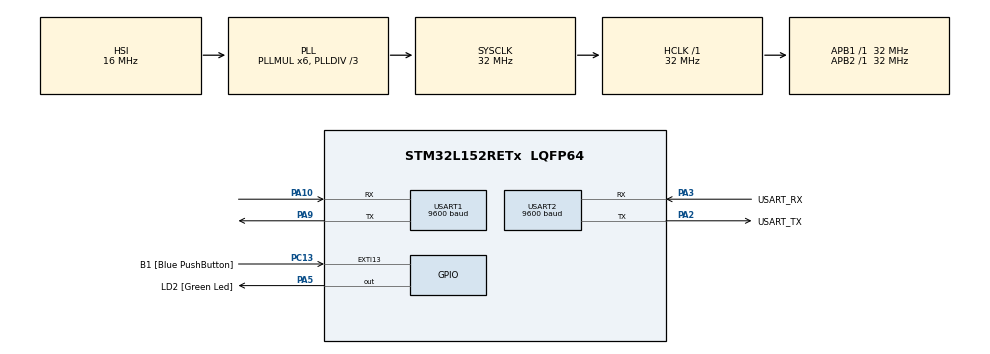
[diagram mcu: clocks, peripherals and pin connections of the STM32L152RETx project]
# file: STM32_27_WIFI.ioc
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Mcu.Family=STM32L1
RCC.MSI_VALUE=2097000
PC15-OSC32_OUT.Mode=LSE-External-Oscillator
PH0-OSC_IN.Signal=RCC_OSC_IN
PA10.Mode=Asynchronous
USART1.BaudRate=9600
PA14.GPIO_Label=TCK
PC14-OSC32_IN.Signal=RCC_OSC32_IN
NVIC.USART2_IRQn=true\:0\:0\:false\:false\:true\:true\:true
USART2.BaudRate=9600
RCC.SYSCLKSource=RCC_SYSCLKSOURCE_PLLCLK
ProjectManager.StackSize=0x400
PA13.Signal=SYS_JTMS-SWDIO
PA3.Mode=Asynchronous
PA9.Mode=Asynchronous
RCC.PLLDIV=RCC_PLL_DIV3
ProjectManager.TargetToolchain=STM32CubeIDE
RCC.HCLKFreq_Value=32000000
PC13-WKUP2.GPIO_Label=B1 [Blue PushButton]
RCC.APB2TimFreq_Value=32000000
PA9.Signal=USART1_TX
PC15-OSC32_OUT.Signal=RCC_OSC32_OUT
RCC.AHBFreq_Value=32000000
PH0-OSC_IN.Mode=HSE-External-Clock-Source
PA5.Signal=GPIO_Output
RCC.HSE_VALUE=8000000
PC13-WKUP2.Signal=GPXTI13
board=NUCLEO-L152RE
RCC.VCOOutputFreq_Value=96000000
RCC.PLLMUL=RCC_PLL_MUL6
RCC.APB2Freq_Value=32000000
PC14-OSC32_IN.Mode=LSE-External-Oscillator
RCC.RTCClockSelectionVirtual=RCC_RTCCLKSOURCE_LSE
PA14.Mode=Serial_Wire
PH1-OSC_OUT.Signal=RCC_OSC_OUT
PA13.Mode=Serial_Wire
Mcu.Name=STM32L152RETx
PA2.Signal=USART2_TX
PA13.GPIO_Label=TMS
RCC.48MHZClocksFreq_Value=48000000
PB3.Signal=SYS_JTDO-TRACESWO
RCC.SYSCLKFreq_VALUE=32000000
Mcu.Package=LQFP64
PA5.GPIO_Label=LD2 [Green Led]
USART2.VirtualMode=VM_ASYNC
RCC.USBOutput=48000000
USART1.VirtualMode=VM_ASYNC
PA2.GPIO_Label=USART_TX
PA10.Signal=USART1_RX
PA14.Signal=SYS_JTCK-SWCLK
ProjectManager.HeapSize=0x200
USART2.WordLength=WORDLENGTH_8B
RCC.HSI_VALUE=16000000
NVIC.PriorityGroup=NVIC_PRIORITYGROUP_0
RCC.APB1TimFreq_Value=32000000
PA2.Mode=Asynchronous
NVIC.USART1_IRQn=true\:0\:0\:false\:false\:true\:true\:true
RCC.APB1Freq_Value=32000000
PA3.GPIO_Label=USART_RX
PA3.Signal=USART2_RX
PB3.GPIO_Label=SWO

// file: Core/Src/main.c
/* USER CODE BEGIN Header */
/**
  ******************************************************************************
  * @file           : main.c
  * @brief          : Main program body
  ******************************************************************************
  * @attention
  *
  * <h2><center>&copy; Copyright (c) 2021 STMicroelectronics.
  * All rights reserved.</center></h2>
  *
  * This software component is licensed by ST under BSD 3-Clause license,
  * the "License"; You may not use this file except in compliance with the
  * License. You may obtain a copy of the License at:
  *                        opensource.org/licenses/BSD-3-Clause
  *
  ******************************************************************************
  */
/* USER CODE END Header */
#include "main.h"
#include "usart.h"
#include "gpio.h"

/* USER CODE BEGIN Includes */
#include <string.h>
#include <stdio.h>
#include "wifly_lib.h"

/*	WIFLY_AUTH_OPEN        0    // Open (default)
	WIFLY_AUTH_WEP         1    // WEP-128
	WIFLY_AUTH_WPA1        2    // WPA1
	WIFLY_AUTH_WPA1_2      3    // Mixed-mode WPA1 and WPA2-PSK
	WIFLY_AUTH_WPA2_PSK    4    // WPA2-PSK
	WIFLY_AUTH_ADHOC       6    // Ad-hoc, join any Ad-hoc network
*/
#define SSID	"Galaxy-S8"
#define KEY		"123456789"
#define AUTH	WIFLY_AUTH_WPA2_PSK

#define URL		"httpbin.org"//"api.openweathermap.org" //"e40810fd255dcc.localhost.run"

#define HOST_IP "192.168.43.48"
#define HOST_PORT "4010"
#define STD_PORT "80"
/* USER CODE END Includes */

void SystemClock_Config(void);

int main(void)
{

  /* MCU Configuration--------------------------------------------------------*/

  /* Reset of all peripherals, Initializes the Flash interface and the Systick. */
  HAL_Init();

  /* Configure the system clock */
  SystemClock_Config();

  /* Initialize all configured peripherals */
  MX_GPIO_Init();
  MX_USART1_UART_Init();
  MX_USART2_UART_Init();
  /* USER CODE BEGIN 2 */

  int ok[MAX_RCP_LEN ] = {0};
  char GET_DATA_Send[100] = "GET /ShowData?id=10";
  //char path = "/ShowData?";
  int  id = 10, temp = 2000, humA = 4560, humS = 6700 , Waterlvl = 5000;
  int reboot = 0, i =0;

  /* USER CODE END 2 */

  /* Infinite loop */
  /* USER CODE BEGIN WHILE */

  commandMode();

  /* -----  WIFI_authentification(SSID,AUTH,KEY);  ----- */

	sendCommand("set wlan ssid " SSID "\r", "OK",ok);
	  if (strcmp(AUTH , WIFLY_AUTH_OPEN) > 0 || strcmp(AUTH , WIFLY_AUTH_OPEN) < 0 )
	    {
		  sendCommand("set wlan auth " AUTH "\r","OK", ok);
	  	  if (strcmp(AUTH , WIFLY_AUTH_WEP)==0)
	  	  {
	  		sendCommand("set wlan key " KEY "\r","OK", ok); // Key must be EXACTLY 13 bytes (26 ASCII chars)
	  	  }
	  	  else{
	  		sendCommand("set wlan phrase " KEY"\r","OK", ok);

	  	  }
	    }

   /* -----  Connect to server ----- */

  sendCommand("set ip protocol 18\r","OK",ok); //enable html client
  sendCommand("set com remote 0\r","OK",ok); // turn off the REMOTE string so it does not interfere with the post

  sendCommand("set ip host " HOST_IP"\r","OK",ok); //set remote IP to connect to
  sendCommand("set ip remote "HOST_PORT"\r","OK",ok); //set remote Port to connect to

  //sendCommand("set ip address 0\r","OK",ok);// so WiFly will use DNS (when of need of DNS)
  //sendCommand("set dns name " URL"\r", "AOK", ok);

  //sendCommand("set comm open *OPEN*\r","OK",ok); // set the string that the wifi shield will output when a connection is opened

  //sendCommand("open " HOST_IP " " HOST_PORT"\r","*OPEN*",ok);
  //sendCommand("open\r","*OPEN*",ok); // One time opening of connection to server

  sendCommand("set uart mode 2\r","AOK",ok); //auto connect on every UART message

  /* -----  Save wlan config ----- */

  sendCommand("save\r", "Storing in config",ok);
  sendCommand("reboot\r", "*READY*", ok); //After reboot we directly go to dataMode

 /*

   /* -----  Join access point ----- //
    HAL_Delay(1000);
    commandMode();
    sendCommand("join " SSID "\r", "Associated!",ok);

  sendCommand("exit\r", "EXIT", ok); // go into DATA mode (mode in which we can communicate with the network/http)

 */

  while (1)
  {
    /* USER CODE END WHILE */

    /* USER CODE BEGIN 3 */

	  /*-----  Join access point -----*/

	  HAL_Delay(1000);
	  commandMode();
	  sendCommand("show  net\r", "Assoc=OK",ok);
	  if (strstr(ok,"Assoc=OK")==NULL)
	  {
		  sendCommand("join\r","Associated!",ok);
	  }
	  sendCommand("exit\r","EXIT", ok);

	  /* Code Capteurs */

	  /* Send measures to server */

	  snprintf(GET_DATA_Send,100,"GET %sid=%d&temp=%d&huma=%d&hums=%d&wtrlvl=%d","/ShowData?",id + i,temp,humA,humS,Waterlvl);
	  sendData(GET_DATA_Send,"*OPEN*", ok);
	  i++;

	  /* test Failure and reboot Wifi Module*/
	  if( strstr((char *)ok,"ERR") != NULL ||  strcmp((char *)ok,"") == 0 )
	  {
		  reboot ++;
		  if(reboot >= 2)
		  {
			  reboot = 0;
			  commandMode();
			  sendCommand("reboot\r", "*READY*", ok);
		  }

	  }

	  HAL_Delay(5000);

  }
  /* USER CODE END 3 */
}

void SystemClock_Config(void)
{
  RCC_OscInitTypeDef RCC_OscInitStruct = {0};
  RCC_ClkInitTypeDef RCC_ClkInitStruct = {0};

  /** Configure the main internal regulator output voltage
  */
  __HAL_PWR_VOLTAGESCALING_CONFIG(PWR_REGULATOR_VOLTAGE_SCALE1);
  /** Initializes the RCC Oscillators according to the specified parameters
  * in the RCC_OscInitTypeDef structure.
  */
  RCC_OscInitStruct.OscillatorType = RCC_OSCILLATORTYPE_HSI;
  RCC_OscInitStruct.HSIState = RCC_HSI_ON;
  RCC_OscInitStruct.HSICalibrationValue = RCC_HSICALIBRATION_DEFAULT;
  RCC_OscInitStruct.PLL.PLLState = RCC_PLL_ON;
  RCC_OscInitStruct.PLL.PLLSource = RCC_PLLSOURCE_HSI;
  RCC_OscInitStruct.PLL.PLLMUL = RCC_PLL_MUL6;
  RCC_OscInitStruct.PLL.PLLDIV = RCC_PLL_DIV3;
  if (HAL_RCC_OscConfig(&RCC_OscInitStruct) != HAL_OK)
  {
    Error_Handler();
  }
  /** Initializes the CPU, AHB and APB buses clocks
  */
  RCC_ClkInitStruct.ClockType = RCC_CLOCKTYPE_HCLK|RCC_CLOCKTYPE_SYSCLK
                              |RCC_CLOCKTYPE_PCLK1|RCC_CLOCKTYPE_PCLK2;
  RCC_ClkInitStruct.SYSCLKSource = RCC_SYSCLKSOURCE_PLLCLK;
  RCC_ClkInitStruct.AHBCLKDivider = RCC_SYSCLK_DIV1;
  RCC_ClkInitStruct.APB1CLKDivider = RCC_HCLK_DIV1;
  RCC_ClkInitStruct.APB2CLKDivider = RCC_HCLK_DIV1;

  if (HAL_RCC_ClockConfig(&RCC_ClkInitStruct, FLASH_LATENCY_1) != HAL_OK)
  {
    Error_Handler();
  }
}

void Error_Handler(void)
{
  __disable_irq();
  while (1)
  {
  }
}

/************************ (C) COPYRIGHT STMicroelectronics *****END OF FILE****/
